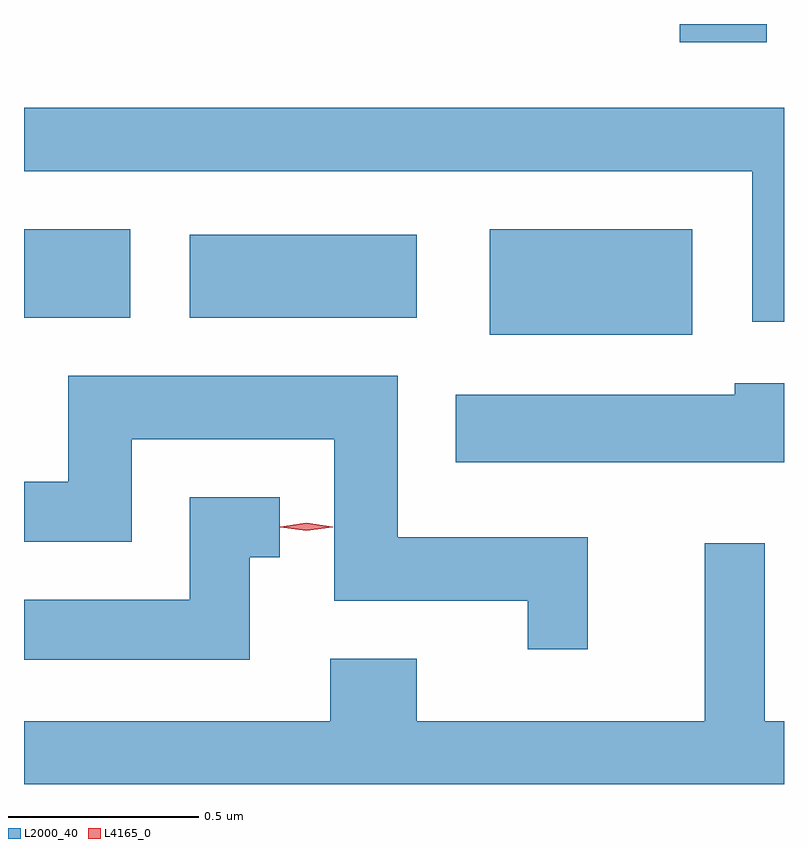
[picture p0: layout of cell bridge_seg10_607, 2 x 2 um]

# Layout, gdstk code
import gdstk
lib = gdstk.Library(unit=1e-6, precision=1e-09)
def R(c, l, rs):  # rectangles x0, y0, x1, y1
    for r in rs: c.add(gdstk.rectangle(r[:2], r[2:], *l))
def P(c, l, *ps):  # polygons
    for p in ps: c.add(gdstk.Polygon(p, *l))
L2000_40 = (2000, 40)
L4165_0 = (4165, 0)

bridge_seg10_607 = lib.new_cell('bridge_seg10_607')
R(bridge_seg10_607, L2000_40, [(682.301,2159.601,682.834,2159.879), (681.075,2159.646,681.354,2159.879), (681.511,2159.646,682.109,2159.864), (682.801,2160.371,683.029,2160.419)])
P(bridge_seg10_607, L2000_40, [(683.075,2160.199),(681.075,2160.199),(681.075,2160.031),(682.991,2160.031),(682.991,2159.636),(683.075,2159.636)],
  [(682.559,2159.069),(682.059,2159.069),(682.059,2159.494),(681.191,2159.494),(681.191,2159.214),(681.075,2159.214),(681.075,2159.056),(681.359,2159.056),(681.359,2159.326),(681.891,2159.326),(681.891,2158.901),(682.401,2158.901),(682.401,2158.773),(682.559,2158.773)],
  [(683.075,2159.474),(682.946,2159.474),(682.946,2159.444),(682.211,2159.444),(682.211,2159.266),(683.075,2159.266)],
  [(681.669,2159.016),(681.748,2159.016),(681.748,2159.174),(681.511,2159.174),(681.511,2158.904),(681.075,2158.904),(681.075,2158.746),(681.669,2158.746)],
  [(683.075,2158.584),(683.024,2158.584),(683.024,2159.053),(682.866,2159.053),(682.866,2158.584),(682.109,2158.584),(682.109,2158.749),(681.881,2158.749),(681.881,2158.584),(681.075,2158.584),(681.075,2158.419),(683.075,2158.419)])
P(bridge_seg10_607, L4165_0, [(681.818,2159.086),(681.749,2159.095),(681.749,2159.095),(681.749,2159.096),(681.818,2159.106),(681.888,2159.096),(681.888,2159.096),(681.888,2159.095)])

lib.write_gds('bridge_seg10_607.gds')
